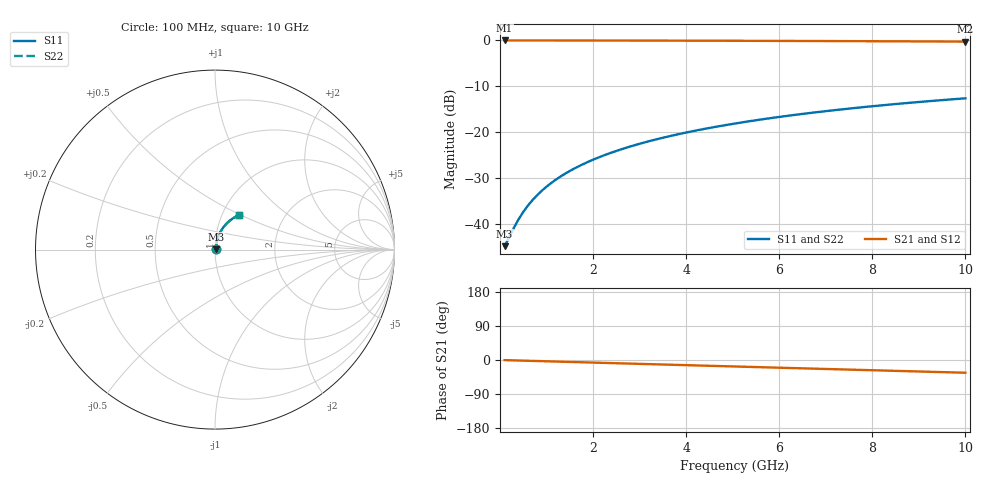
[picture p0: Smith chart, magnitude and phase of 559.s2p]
# Hz S RI R 50.00
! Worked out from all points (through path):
!   100 points, 100 MHz to 10 GHz, reference 50 ohm
!   highest |S21| = -0.05 dB at 100 MHz (marker M1); lowest = -0.3 dB at 10 GHz (marker M2)
!   group delay of S21, straight-line fit = 9.35 ps
!   lowest |S11| = -44.7 dB at 100 MHz (marker M3), VSWR 1.01, Z = 50.5 + j0.251 ohm
!   |S11| at or under -10 dB: start of sweep to end of sweep
!   |S22| runs from -44.7 to -12.6 dB; largest |S21 - S12| = 0
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1e8  0.00525 0.00248  0.9947 -0.00591  0.9947 -0.00591  0.00525 0.00248
3e8  0.00542 0.00745  0.9945 -0.0177  0.9945 -0.0177  0.00542 0.00745
4e8  0.00555 0.00993  0.9943 -0.0236  0.9943 -0.0236  0.00555 0.00993
5e8  0.0057 0.0124  0.9941 -0.0296  0.9941 -0.0296  0.0057 0.0124
6e8  0.00587 0.0149  0.9939 -0.0355  0.9939 -0.0355  0.00587 0.0149
7e8  0.00608 0.0174  0.9936 -0.0414  0.9936 -0.0414  0.00608 0.0174
8e8  0.00631 0.0198  0.9933 -0.0473  0.9933 -0.0473  0.00631 0.0198
1e9  0.00686 0.0248  0.9925 -0.0591  0.9925 -0.0591  0.00686 0.0248
1.2e9  0.00753 0.0297  0.9916 -0.0708  0.9916 -0.0708  0.00753 0.0297
1.5e9  0.00874 0.037  0.9899 -0.0885  0.9899 -0.0885  0.00874 0.037
1.8e9  0.0102 0.0443  0.9878 -0.1061  0.9878 -0.1061  0.0102 0.0443
2.1e9  0.0119 0.0515  0.9854 -0.1236  0.9854 -0.1236  0.0119 0.0515
2.5e9  0.0146 0.0611  0.9816 -0.1468  0.9816 -0.1468  0.0146 0.0611
2.9e9  0.0178 0.0704  0.9771 -0.1699  0.9771 -0.1699  0.0178 0.0704
3.4e9  0.0223 0.0819  0.9707 -0.1986  0.9707 -0.1986  0.0223 0.0819
4.2e9  0.031 0.0996  0.9584 -0.2438  0.9584 -0.2438  0.031 0.0996
5.1e9  0.0426 0.1184  0.9417 -0.2935  0.9417 -0.2935  0.0426 0.1184
5.9e9  0.0545 0.134  0.9245 -0.3365  0.9245 -0.3365  0.0545 0.134
6.7e9  0.0678 0.1483  0.9051 -0.3783  0.9051 -0.3783  0.0678 0.1483
7.5e9  0.0823 0.1612  0.8836 -0.4187  0.8836 -0.4187  0.0823 0.1612
8.4e9  0.0999 0.1741  0.8573 -0.4624  0.8573 -0.4624  0.0999 0.1741
1e10  0.1338 0.192  0.805 -0.535  0.805 -0.535  0.1338 0.192
